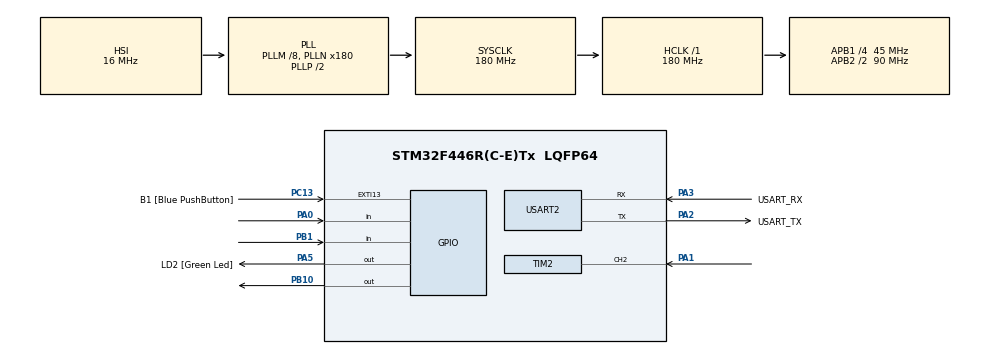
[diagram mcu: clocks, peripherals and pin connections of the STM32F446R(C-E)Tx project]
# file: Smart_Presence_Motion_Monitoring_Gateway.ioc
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FREERTOS.Tasks01=HeartBeatTask,8,128,StartHeartBeatTask,Default,NULL,Dynamic,NULL,NULL;SensorTask,24,256,StartSensorTask,Default,NULL,Dynamic,NULL,NULL;CommsTask,16,256,StartCommsTask,Default,NULL,Dynamic,NULL,NULL
FREERTOS.configUSE_NEWLIB_REENTRANT=1
Mcu.Family=STM32F4
Mcu.Name=STM32F446R(C-E)Tx
Mcu.Package=LQFP64
NVIC.PriorityGroup=NVIC_PRIORITYGROUP_4
NVIC.TIM2_IRQn=true\:5\:0\:false\:false\:true\:true\:true\:true\:true
NVIC.TIM6_DAC_IRQn=true\:15\:0\:false\:false\:true\:false\:false\:true\:true
NVIC.TimeBase=TIM6_DAC_IRQn
NVIC.TimeBaseIP=TIM6
NVIC.USART2_IRQn=true\:6\:0\:true\:false\:true\:true\:true\:true\:true
PA0-WKUP.GPIO_PuPd=GPIO_PULLDOWN
PA0-WKUP.Signal=GPIO_Input
PA1.Signal=S_TIM2_CH2
PA13.GPIO_Label=TMS
PA13.Mode=Serial_Wire
PA13.Signal=SYS_JTMS-SWDIO
PA14.GPIO_Label=TCK
PA14.Mode=Serial_Wire
PA14.Signal=SYS_JTCK-SWCLK
PA2.GPIO_Label=USART_TX
PA2.Mode=Asynchronous
PA2.Signal=USART2_TX
PA3.GPIO_Label=USART_RX
PA3.Mode=Asynchronous
PA3.Signal=USART2_RX
PA5.GPIO_Label=LD2 [Green Led]
PA5.Signal=GPIO_Output
PB1.GPIO_PuPd=GPIO_PULLDOWN
PB1.Signal=GPIO_Input
PB10.Signal=GPIO_Output
PB3.GPIO_Label=SWO
PB3.Signal=SYS_JTDO-SWO
PC13.GPIO_Label=B1 [Blue PushButton]
PC13.GPIO_ModeDefaultEXTI=GPIO_MODE_IT_FALLING
PC13.Signal=GPXTI13
PC14-OSC32_IN.Mode=LSE-External-Oscillator
PC14-OSC32_IN.Signal=RCC_OSC32_IN
PC15-OSC32_OUT.Mode=LSE-External-Oscillator
PC15-OSC32_OUT.Signal=RCC_OSC32_OUT
PH0-OSC_IN.Mode=HSE-External-Oscillator
PH0-OSC_IN.Signal=RCC_OSC_IN
PH1-OSC_OUT.Mode=HSE-External-Oscillator
PH1-OSC_OUT.Signal=RCC_OSC_OUT
ProjectManager.HeapSize=0x200
ProjectManager.StackSize=0x400
ProjectManager.TargetToolchain=STM32CubeIDE
RCC.48MHZClocksFreq_Value=84000000
RCC.AHBFreq_Value=180000000
RCC.APB1CLKDivider=RCC_HCLK_DIV4
RCC.APB1Freq_Value=45000000
RCC.APB1TimFreq_Value=90000000
RCC.APB2CLKDivider=RCC_HCLK_DIV2
RCC.APB2Freq_Value=90000000
RCC.APB2TimFreq_Value=180000000
RCC.CortexFreq_Value=180000000
RCC.FLatency-AdvancedSettings=FLASH_LATENCY_5
RCC.HCLKFreq_Value=180000000
RCC.HSE_VALUE=8000000
RCC.HSI_VALUE=16000000
RCC.PLLM=8
RCC.PLLN=180
RCC.SYSCLKFreq_VALUE=180000000
RCC.SYSCLKSource=RCC_SYSCLKSOURCE_PLLCLK
RCC.USBFreq_Value=180000000
RCC.VCOOutputFreq_Value=360000000
SH.S_TIM2_CH2.0=TIM2_CH2,Input_Capture2_from_TI2
TIM2.AutoReloadPreload=TIM_AUTORELOAD_PRELOAD_ENABLE
TIM2.Channel-Input_Capture2_from_TI2=TIM_CHANNEL_2
TIM2.Period=0xFFFFFFFF
TIM2.Prescaler=89
USART2.VirtualMode=VM_ASYNC
VP_FREERTOS_VS_CMSIS_V2.Mode=CMSIS_V2
VP_SYS_VS_tim6.Mode=TIM6
VP_TIM2_VS_ClockSourceINT.Mode=Internal
board=NUCLEO-F446RE

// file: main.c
/* USER CODE BEGIN Header */
/**
  ******************************************************************************
  * @file           : main.c
  * @brief          : Main program body
  ******************************************************************************
  * @attention
  *
  * Copyright (c) 2025 STMicroelectronics.
  * All rights reserved.
  *
  ******************************************************************************
  */
/* USER CODE END Header */
#include "main.h"
#include "cmsis_os.h"

/* USER CODE BEGIN Includes */
#include "stdio.h"
#include "string.h"
#include "stdbool.h"
#include "queue.h"
#include "semphr.h"  // Add semaphore header
/* USER CODE END Includes */

/* USER CODE BEGIN PTD */
;
/* USER CODE END PTD */

/* USER CODE BEGIN PD */
#define PIR_PORT GPIOA
#define PIR_PIN GPIO_PIN_0

#define UART_TX_QUEUE_LENGTH 10
#define LOG_BUF_SIZE 64

/* USER CODE END PD */

TIM_HandleTypeDef htim2;

UART_HandleTypeDef huart2;

/* Definitions for HeartBeatTask */
osThreadId_t HeartBeatTaskHandle;
const osThreadAttr_t HeartBeatTask_attributes = {
  .name = "HeartBeatTask",
  .stack_size = 128 * 4,
  .priority = (osPriority_t) osPriorityLow,
};
/* Definitions for SensorTask */
osThreadId_t SensorTaskHandle;
const osThreadAttr_t SensorTask_attributes = {
  .name = "SensorTask",
  .stack_size = 256 * 4,
  .priority = (osPriority_t) osPriorityNormal,
};
/* Definitions for CommsTask */
osThreadId_t CommsTaskHandle;
const osThreadAttr_t CommsTask_attributes = {
  .name = "CommsTask",
  .stack_size = 256 * 4,
  .priority = (osPriority_t) osPriorityBelowNormal,
};
/* USER CODE BEGIN PV */
QueueHandle_t uartTxQueue;
SemaphoreHandle_t txCompleteSemaphore;

typedef struct {
    char buf[LOG_BUF_SIZE];
    size_t len;
} LogMsg_t;
/* USER CODE END PV */

void SystemClock_Config(void);
static void MX_GPIO_Init(void);
static void MX_USART2_UART_Init(void);
static void MX_TIM2_Init(void);
void StartHeartBeatTask(void *argument);
void StartSensorTask(void *argument);
void StartCommsTask(void *argument);
void LoggerTask(void *argument);
void HAL_UART_TxCpltCallback(UART_HandleTypeDef *huart);
void SendLogMessage(const char *msg);

/* USER CODE BEGIN 0 */

//Logger task - receives messages from queue and sends via UART DMA
void LoggerTask(void *argument)
{
    LogMsg_t msg;
    static LogMsg_t txBuffer;

    for (;;)
    {
        if (xQueueReceive(uartTxQueue, &msg, portMAX_DELAY) == pdPASS)
        {
            if (xSemaphoreTake(txCompleteSemaphore, portMAX_DELAY) == pdTRUE)
            {
                memcpy(txBuffer.buf, msg.buf, msg.len);
                txBuffer.len = msg.len;

                if (HAL_UART_Transmit_IT(&huart2, (uint8_t *)txBuffer.buf, txBuffer.len) != HAL_OK)
                {
                    xSemaphoreGive(txCompleteSemaphore);
                }
            }
        }
    }
}

//UART Tx complete callback (called from HAL ISR)
void HAL_UART_TxCpltCallback(UART_HandleTypeDef *huart)
{
    BaseType_t xHigherPriorityTaskWoken = pdFALSE;
    if (huart->Instance == USART2)
    {
        xSemaphoreGiveFromISR(txCompleteSemaphore, &xHigherPriorityTaskWoken);
        portYIELD_FROM_ISR(xHigherPriorityTaskWoken);
        // Optional: Toggle LED or debug here to confirm callback
        HAL_GPIO_TogglePin(LD2_GPIO_Port, LD2_Pin);
    }
}

void SendLogMessage(const char *msg)
{
    LogMsg_t logMsg;
    size_t len = strlen(msg);
    if (len >= LOG_BUF_SIZE) len = LOG_BUF_SIZE - 1;
    memcpy(logMsg.buf, msg, len);
    logMsg.buf[len] = '\0';   // null-terminate for safety (not sent)
    logMsg.len = len;
    xQueueSendToBack(uartTxQueue, &logMsg, pdMS_TO_TICKS(10));
}
/* USER CODE END 0 */

int main(void)
{

  /* MCU Configuration--------------------------------------------------------*/

  /* Reset of all peripherals, Initializes the Flash interface and the Systick. */
  HAL_Init();

  /* Configure the system clock */
  SystemClock_Config();

  /* Initialize all configured peripherals */
  MX_GPIO_Init();
  MX_USART2_UART_Init();
  MX_TIM2_Init();

  /* Init scheduler */
  osKernelInitialize();

  /* USER CODE BEGIN RTOS_SEMAPHORES */
  txCompleteSemaphore = xSemaphoreCreateBinary();
  xSemaphoreGive(txCompleteSemaphore);
  /* USER CODE END RTOS_SEMAPHORES */

  /* USER CODE BEGIN RTOS_QUEUES */
  uartTxQueue = xQueueCreate(UART_TX_QUEUE_LENGTH, sizeof(LogMsg_t));
  /* USER CODE END RTOS_QUEUES */

  /* Create the thread(s) */
  /* creation of HeartBeatTask */
  HeartBeatTaskHandle = osThreadNew(StartHeartBeatTask, NULL, &HeartBeatTask_attributes);

  /* creation of SensorTask */
  SensorTaskHandle = osThreadNew(StartSensorTask, NULL, &SensorTask_attributes);

  /* creation of CommsTask */
  CommsTaskHandle = osThreadNew(StartCommsTask, NULL, &CommsTask_attributes);

  /* creation of logger task */
  xTaskCreate(LoggerTask, "Logger", 512, NULL, configMAX_PRIORITIES - 1, NULL);

  /* Start scheduler */
  osKernelStart();

  /* We should never get here as control is now taken by the scheduler */

  /* Infinite loop */
  while (1)
  {

  }
}

void SystemClock_Config(void)
{
  RCC_OscInitTypeDef RCC_OscInitStruct = {0};
  RCC_ClkInitTypeDef RCC_ClkInitStruct = {0};

  /** Configure the main internal regulator output voltage
  */
  __HAL_RCC_PWR_CLK_ENABLE();
  __HAL_PWR_VOLTAGESCALING_CONFIG(PWR_REGULATOR_VOLTAGE_SCALE1);

  /** Initializes the RCC Oscillators according to the specified parameters
  * in the RCC_OscInitTypeDef structure.
  */
  RCC_OscInitStruct.OscillatorType = RCC_OSCILLATORTYPE_HSI;
  RCC_OscInitStruct.HSIState = RCC_HSI_ON;
  RCC_OscInitStruct.HSICalibrationValue = RCC_HSICALIBRATION_DEFAULT;
  RCC_OscInitStruct.PLL.PLLState = RCC_PLL_ON;
  RCC_OscInitStruct.PLL.PLLSource = RCC_PLLSOURCE_HSI;
  RCC_OscInitStruct.PLL.PLLM = 8;
  RCC_OscInitStruct.PLL.PLLN = 180;
  RCC_OscInitStruct.PLL.PLLP = RCC_PLLP_DIV2;
  RCC_OscInitStruct.PLL.PLLQ = 2;
  RCC_OscInitStruct.PLL.PLLR = 2;
  if (HAL_RCC_OscConfig(&RCC_OscInitStruct) != HAL_OK)
  {
    Error_Handler();
  }

  /** Activate the Over-Drive mode
  */
  if (HAL_PWREx_EnableOverDrive() != HAL_OK)
  {
    Error_Handler();
  }

  /** Initializes the CPU, AHB and APB buses clocks
  */
  RCC_ClkInitStruct.ClockType = RCC_CLOCKTYPE_HCLK|RCC_CLOCKTYPE_SYSCLK
                              |RCC_CLOCKTYPE_PCLK1|RCC_CLOCKTYPE_PCLK2;
  RCC_ClkInitStruct.SYSCLKSource = RCC_SYSCLKSOURCE_PLLCLK;
  RCC_ClkInitStruct.AHBCLKDivider = RCC_SYSCLK_DIV1;
  RCC_ClkInitStruct.APB1CLKDivider = RCC_HCLK_DIV4;
  RCC_ClkInitStruct.APB2CLKDivider = RCC_HCLK_DIV2;

  if (HAL_RCC_ClockConfig(&RCC_ClkInitStruct, FLASH_LATENCY_5) != HAL_OK)
  {
    Error_Handler();
  }
}

static void MX_TIM2_Init(void)
{

  TIM_ClockConfigTypeDef sClockSourceConfig = {0};
  TIM_MasterConfigTypeDef sMasterConfig = {0};
  TIM_IC_InitTypeDef sConfigIC = {0};

  htim2.Instance = TIM2;
  htim2.Init.Prescaler = 89;
  htim2.Init.CounterMode = TIM_COUNTERMODE_UP;
  htim2.Init.Period = 0xFFFFFFFF;
  htim2.Init.ClockDivision = TIM_CLOCKDIVISION_DIV1;
  htim2.Init.AutoReloadPreload = TIM_AUTORELOAD_PRELOAD_ENABLE;
  if (HAL_TIM_Base_Init(&htim2) != HAL_OK)
  {
    Error_Handler();
  }
  sClockSourceConfig.ClockSource = TIM_CLOCKSOURCE_INTERNAL;
  if (HAL_TIM_ConfigClockSource(&htim2, &sClockSourceConfig) != HAL_OK)
  {
    Error_Handler();
  }
  if (HAL_TIM_IC_Init(&htim2) != HAL_OK)
  {
    Error_Handler();
  }
  sMasterConfig.MasterOutputTrigger = TIM_TRGO_RESET;
  sMasterConfig.MasterSlaveMode = TIM_MASTERSLAVEMODE_DISABLE;
  if (HAL_TIMEx_MasterConfigSynchronization(&htim2, &sMasterConfig) != HAL_OK)
  {
    Error_Handler();
  }
  sConfigIC.ICPolarity = TIM_INPUTCHANNELPOLARITY_RISING;
  sConfigIC.ICSelection = TIM_ICSELECTION_DIRECTTI;
  sConfigIC.ICPrescaler = TIM_ICPSC_DIV1;
  sConfigIC.ICFilter = 0;
  if (HAL_TIM_IC_ConfigChannel(&htim2, &sConfigIC, TIM_CHANNEL_2) != HAL_OK)
  {
    Error_Handler();
  }

}

static void MX_USART2_UART_Init(void)
{

  huart2.Instance = USART2;
  huart2.Init.BaudRate = 115200;
  huart2.Init.WordLength = UART_WORDLENGTH_8B;
  huart2.Init.StopBits = UART_STOPBITS_1;
  huart2.Init.Parity = UART_PARITY_NONE;
  huart2.Init.Mode = UART_MODE_TX_RX;
  huart2.Init.HwFlowCtl = UART_HWCONTROL_NONE;
  huart2.Init.OverSampling = UART_OVERSAMPLING_16;
  if (HAL_UART_Init(&huart2) != HAL_OK)
  {
    Error_Handler();
  }
  /* USER CODE BEGIN USART2_Init 2 */
  // Enable USART2 IRQ with priority (must be >= configMAX_SYSCALL_INTERRUPT_PRIORITY)
  HAL_NVIC_SetPriority(USART2_IRQn, 6, 0);
  HAL_NVIC_EnableIRQ(USART2_IRQn);

  /* USER CODE END USART2_Init 2 */

}

static void MX_GPIO_Init(void)
{
  GPIO_InitTypeDef GPIO_InitStruct = {0};

  /* GPIO Ports Clock Enable */
  __HAL_RCC_GPIOC_CLK_ENABLE();
  __HAL_RCC_GPIOH_CLK_ENABLE();
  __HAL_RCC_GPIOA_CLK_ENABLE();
  __HAL_RCC_GPIOB_CLK_ENABLE();

  /*Configure GPIO pin Output Level */
  HAL_GPIO_WritePin(LD2_GPIO_Port, LD2_Pin, GPIO_PIN_RESET);

  /*Configure GPIO pin Output Level */
  HAL_GPIO_WritePin(GPIOB, GPIO_PIN_10, GPIO_PIN_RESET);

  /*Configure GPIO pin : B1_Pin */
  GPIO_InitStruct.Pin = B1_Pin;
  GPIO_InitStruct.Mode = GPIO_MODE_IT_FALLING;
  GPIO_InitStruct.Pull = GPIO_NOPULL;
  HAL_GPIO_Init(B1_GPIO_Port, &GPIO_InitStruct);

  /*Configure GPIO pin : PA0 */
  GPIO_InitStruct.Pin = GPIO_PIN_0;
  GPIO_InitStruct.Mode = GPIO_MODE_INPUT;
  GPIO_InitStruct.Pull = GPIO_NOPULL;
  HAL_GPIO_Init(GPIOA, &GPIO_InitStruct);

  /*Configure GPIO pin : LD2_Pin */
  GPIO_InitStruct.Pin = LD2_Pin;
  GPIO_InitStruct.Mode = GPIO_MODE_OUTPUT_PP;
  GPIO_InitStruct.Pull = GPIO_NOPULL;
  GPIO_InitStruct.Speed = GPIO_SPEED_FREQ_LOW;
  HAL_GPIO_Init(LD2_GPIO_Port, &GPIO_InitStruct);

  /*Configure GPIO pin : PB1 */
  GPIO_InitStruct.Pin = GPIO_PIN_1;
  GPIO_InitStruct.Mode = GPIO_MODE_INPUT;
  GPIO_InitStruct.Pull = GPIO_PULLDOWN;
  HAL_GPIO_Init(GPIOB, &GPIO_InitStruct);

  /*Configure GPIO pin : PB10 */
  GPIO_InitStruct.Pin = GPIO_PIN_10;
  GPIO_InitStruct.Mode = GPIO_MODE_OUTPUT_PP;
  GPIO_InitStruct.Pull = GPIO_NOPULL;
  GPIO_InitStruct.Speed = GPIO_SPEED_FREQ_LOW;
  HAL_GPIO_Init(GPIOB, &GPIO_InitStruct);

}

void StartHeartBeatTask(void *argument)
{
  /* USER CODE BEGIN 5 */
  /* Infinite loop */
  for (;;)
  {
//	  SendLogMessage("Heartbeat: alive\r\n");
//	  vTaskDelay(pdMS_TO_TICKS(1000));
  }
  /* USER CODE END 5 */
}

void StartSensorTask(void *argument)
{
  /* USER CODE BEGIN StartSensorTask */
	GPIO_PinState lastState = HAL_GPIO_ReadPin(PIR_PORT, PIR_PIN);  // Initialize to actual pin state
	GPIO_PinState currentState;

	    uint8_t stable_state = 0xFF;
	    uint8_t last_read = 0xFF;
	    uint32_t last_change_time = 0;

  for (;;)
  {
      uint8_t curr = (HAL_GPIO_ReadPin(PIR_PORT, PIR_PIN) == GPIO_PIN_SET) ? 1 : 0;
      uint32_t now = HAL_GetTick();

      if (curr != last_read) {
          last_change_time = now;
          last_read = curr;
      }
      else if ((now - last_change_time) >= 200 && curr != stable_state) {
          stable_state = curr;
          if (stable_state)
              SendLogMessage("Sensor: PIR Motion Detected!\r\n");
          else
              SendLogMessage("Sensor: PIR Motion Stopped!\r\n");
      }

      vTaskDelay(pdMS_TO_TICKS(100));
  }
  /* USER CODE END StartSensorTask */
}

void StartCommsTask(void *argument)
{
  /* USER CODE BEGIN StartCommsTask */
  for (;;)
  {
//      SendLogMessage("Comms: sending sensor data to gateway...\r\n");
//      vTaskDelay(pdMS_TO_TICKS(5000));
  }
  /* USER CODE END StartCommsTask */
}

void HAL_TIM_PeriodElapsedCallback(TIM_HandleTypeDef *htim)
{
  if (htim->Instance == TIM6)
  {
    HAL_IncTick();
  }
}

void Error_Handler(void)
{
  __disable_irq();
  while (1)
  {
  }
}
